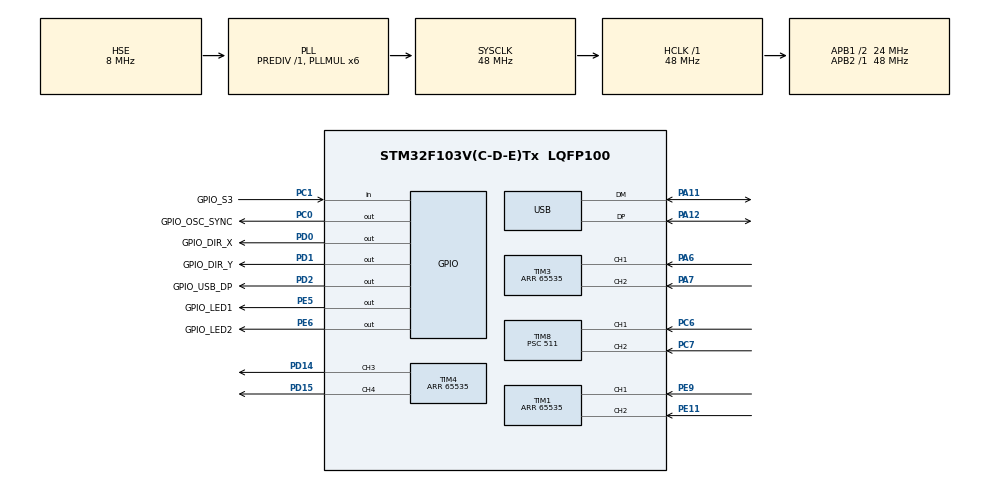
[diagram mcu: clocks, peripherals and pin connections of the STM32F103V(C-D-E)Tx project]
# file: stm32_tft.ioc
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Mcu.Family=STM32F1
Mcu.Name=STM32F103V(C-D-E)Tx
Mcu.Package=LQFP100
NVIC.PriorityGroup=NVIC_PRIORITYGROUP_4
NVIC.TIM1_UP_IRQn=true\:0\:0\:false\:false\:true
NVIC.TIM4_IRQn=true\:0\:0\:false\:false\:true
NVIC.TIM6_IRQn=true\:0\:0\:false\:false\:true
NVIC.TIM8_CC_IRQn=true\:0\:0\:false\:false\:true
NVIC.USB_LP_CAN1_RX0_IRQn=true\:0\:0\:false\:false\:true
OSC_IN.Mode=HSE-External-Oscillator
OSC_IN.Signal=RCC_OSC_IN
OSC_OUT.Mode=HSE-External-Oscillator
OSC_OUT.Signal=RCC_OSC_OUT
PA11.Mode=Device
PA11.Signal=USB_DM
PA12.Mode=Device
PA12.Signal=USB_DP
PA13.Mode=Serial_Wire
PA13.Signal=SYS_JTMS-SWDIO
PA14.Mode=Serial_Wire
PA14.Signal=SYS_JTCK-SWCLK
PA6.GPIO_PuPd=GPIO_PULLDOWN
PA6.Signal=S_TIM3_CH1
PA7.GPIO_PuPd=GPIO_PULLDOWN
PA7.Signal=S_TIM3_CH2
PC0.GPIO_Label=GPIO_OSC_SYNC
PC0.GPIO_Speed=GPIO_SPEED_FREQ_HIGH
PC0.Signal=GPIO_Output
PC1.GPIO_Label=GPIO_S3
PC1.Signal=GPIO_Input
PC14-OSC32_IN.Mode=LSE-External-Oscillator
PC14-OSC32_IN.Signal=RCC_OSC32_IN
PC15-OSC32_OUT.Mode=LSE-External-Oscillator
PC15-OSC32_OUT.Signal=RCC_OSC32_OUT
PC6.Signal=S_TIM8_CH1
PC7.Signal=S_TIM8_CH2
PD0.GPIO_Label=GPIO_DIR_X
PD0.Signal=GPIO_Output
PD1.GPIO_Label=GPIO_DIR_Y
PD1.Signal=GPIO_Output
PD14.GPIO_Speed=GPIO_SPEED_FREQ_HIGH
PD14.Signal=S_TIM4_CH3
PD15.GPIO_Speed=GPIO_SPEED_FREQ_HIGH
PD15.Signal=S_TIM4_CH4
PD2.GPIO_Label=GPIO_USB_DP
PD2.GPIO_ModeDefaultOutputPP=GPIO_MODE_OUTPUT_OD
PD2.Signal=GPIO_Output
PE11.GPIO_PuPd=GPIO_PULLDOWN
PE11.Signal=S_TIM1_CH2
PE5.GPIO_Label=GPIO_LED1
PE5.Signal=GPIO_Output
PE6.GPIO_Label=GPIO_LED2
PE6.Signal=GPIO_Output
PE9.GPIO_PuPd=GPIO_PULLDOWN
PE9.Signal=S_TIM1_CH1
ProjectManager.HeapSize=0x200
ProjectManager.StackSize=0x400
ProjectManager.TargetToolchain=SW4STM32
RCC.AHBFreq_Value=48000000
RCC.APB1CLKDivider=RCC_HCLK_DIV2
RCC.APB1Freq_Value=24000000
RCC.APB1TimFreq_Value=48000000
RCC.APB2Freq_Value=48000000
RCC.APB2TimFreq_Value=48000000
RCC.EnbaleCSS=true
RCC.HCLKFreq_Value=48000000
RCC.HSIState=RCC_HSI_ON
RCC.PLLMUL=RCC_PLL_MUL6
RCC.PLLSourceVirtual=RCC_PLLSOURCE_HSE
RCC.RTCClockSelection=RCC_RTCCLKSOURCE_LSE
RCC.SYSCLKFreq_VALUE=48000000
RCC.SYSCLKSource=RCC_SYSCLKSOURCE_PLLCLK
RCC.USBFreq_Value=48000000
SH.S_TIM1_CH1.0=TIM1_CH1,Encoder_Interface
SH.S_TIM1_CH2.0=TIM1_CH2,Encoder_Interface
SH.S_TIM3_CH1.0=TIM3_CH1,Encoder_Interface
SH.S_TIM3_CH2.0=TIM3_CH2,Encoder_Interface
SH.S_TIM4_CH3.0=TIM4_CH3,PWM Generation3 CH3
SH.S_TIM4_CH4.0=TIM4_CH4,PWM Generation4 CH4
SH.S_TIM8_CH1.0=TIM8_CH1,Input_Capture1_from_TI1
SH.S_TIM8_CH2.0=TIM8_CH2,Input_Capture2_from_TI2
TIM1.EncoderMode=TIM_ENCODERMODE_TI12
TIM1.IC1Filter=0
TIM1.IC2Filter=0
TIM1.Period=65535
TIM3.EncoderMode=TIM_ENCODERMODE_TI12
TIM3.IC1Filter=0
TIM3.IC2Filter=0
TIM3.Period=65535
TIM4.Channel-PWM\ Generation3\ CH3=TIM_CHANNEL_3
TIM4.Channel-PWM\ Generation4\ CH4=TIM_CHANNEL_4
TIM4.OCMode_PWM-PWM\ Generation3\ CH3=TIM_OCMODE_PWM1
TIM4.Period=65535
TIM6.Period=48000
TIM6.Prescaler=0
TIM6.TIM_MasterOutputTrigger=TIM_TRGO_ENABLE
TIM8.Channel-Input_Capture2_from_TI2=TIM_CHANNEL_2
TIM8.Period=65535
TIM8.Prescaler=511
USB.ep0_mps=DEP0CTL_MPS_64
USB_DEVICE.CLASS_NAME_FS=CDC
USB_DEVICE.USBD_HandleTypeDef=hUsbDeviceFS
USB_DEVICE.VirtualMode=Cdc
USB_DEVICE.VirtualModeFS=Cdc_FS
VP_RTC_VS_RTC_Activate.Mode=RTC_Enabled
VP_TIM4_VS_ClockSourceINT.Mode=Internal
VP_TIM6_VS_ClockSourceINT.Mode=Enable_Timer
VP_TIM8_VS_ClockSourceINT.Mode=Internal
VP_USB_DEVICE_VS_USB_DEVICE_CDC_FS.Mode=CDC_FS
board=stm32_tft

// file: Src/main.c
/**
  ******************************************************************************
  * File Name          : main.c
  * Description        : Main program body
  ******************************************************************************
  *
  * Copyright (c) 2017 STMicroelectronics International N.V.
  * All rights reserved.
  *
  * Redistribution and use in source and binary forms, with or without
  * modification, are permitted, provided that the following conditions are met:
  *
  * 1. Redistribution of source code must retain the above copyright notice,
  *    this list of conditions and the following disclaimer.
  * 2. Redistributions in binary form must reproduce the above copyright notice,
  *    this list of conditions and the following disclaimer in the documentation
  *    and/or other materials provided with the distribution.
  * 3. Neither the name of STMicroelectronics nor the names of other
  *    contributors to this software may be used to endorse or promote products
  *    derived from this software without specific written permission.
  * 4. This software, including modifications and/or derivative works of this
  *    software, must execute solely and exclusively on microcontroller or
  *    microprocessor devices manufactured by or for STMicroelectronics.
  * 5. Redistribution and use of this software other than as permitted under
  *    this license is void and will automatically terminate your rights under
  *    this license.
  *
  * THIS SOFTWARE IS PROVIDED BY STMICROELECTRONICS AND CONTRIBUTORS "AS IS"
  * AND ANY EXPRESS, IMPLIED OR STATUTORY WARRANTIES, INCLUDING, BUT NOT
  * LIMITED TO, THE IMPLIED WARRANTIES OF MERCHANTABILITY, FITNESS FOR A
  * PARTICULAR PURPOSE AND NON-INFRINGEMENT OF THIRD PARTY INTELLECTUAL PROPERTY
  * RIGHTS ARE DISCLAIMED TO THE FULLEST EXTENT PERMITTED BY LAW. IN NO EVENT
  * SHALL STMICROELECTRONICS OR CONTRIBUTORS BE LIABLE FOR ANY DIRECT, INDIRECT,
  * INCIDENTAL, SPECIAL, EXEMPLARY, OR CONSEQUENTIAL DAMAGES (INCLUDING, BUT NOT
  * LIMITED TO, PROCUREMENT OF SUBSTITUTE GOODS OR SERVICES; LOSS OF USE, DATA,
  * OR PROFITS; OR BUSINESS INTERRUPTION) HOWEVER CAUSED AND ON ANY THEORY OF
  * LIABILITY, WHETHER IN CONTRACT, STRICT LIABILITY, OR TORT (INCLUDING
  * NEGLIGENCE OR OTHERWISE) ARISING IN ANY WAY OUT OF THE USE OF THIS SOFTWARE,
  * EVEN IF ADVISED OF THE POSSIBILITY OF SUCH DAMAGE.
  *
  ******************************************************************************
  */
#include "main.h"
#include "stm32f1xx_hal.h"
#include "usb_device.h"

/* USER CODE BEGIN Includes */
#include "stm32_microrl_misc.h"
#include "event_queue.h"
#include "timer.h"
#include "speedometer.h"
#include "pid_regulator.h"
#include "stm32_dsp.h"
#include "main_hal.h"
#include "logger.h"
/* USER CODE END Includes */

RTC_HandleTypeDef hrtc;

TIM_HandleTypeDef htim1;
TIM_HandleTypeDef htim3;
TIM_HandleTypeDef htim4;
TIM_HandleTypeDef htim6;
TIM_HandleTypeDef htim8;

/* USER CODE BEGIN PV */
/* Private variables ---------------------------------------------------------*/

/* USER CODE END PV */

void SystemClock_Config(void);
void Error_Handler(void);
static void MX_GPIO_Init(void);
static void MX_RTC_Init(void);
static void MX_TIM6_Init(void);
static void MX_TIM1_Init(void);
static void MX_TIM3_Init(void);
static void MX_TIM4_Init(void);
static void MX_TIM8_Init(void);

void HAL_TIM_MspPostInit(TIM_HandleTypeDef *htim);

/* USER CODE BEGIN PFP */
/* Private function prototypes -----------------------------------------------*/

/* USER CODE END PFP */

/* USER CODE BEGIN 0 */
typedef enum STATE_MACHINE_TAG {
	MANUAL = 0,
	AUTO
} state_machine_e;

typedef enum START_STATE_MACHINE_TAG {
	START_INIT_DELAY = 0,
	START_USB_CONNECT_DELAY,
	START_USB_DONE
} start_state_machine_e;
//arm-none-eabi-objcopy -O binary "${BuildArtifactFileBaseName}.elf" "${BuildArtifactFileBaseName}.bin" && arm-none-eabi-size "${BuildArtifactFileName}"
//arm-none-eabi-objcopy -O ihex "${BuildArtifactFileBaseName}.elf" "${BuildArtifactFileBaseName}.hex"
static st_stat_module PidStat = {.printStatFunc = PidPrintStat};
static st_stat_module SpeedStat = {.printStatFunc = SPEED_PrintStat};
static st_stat_module TimerStat = {.printStatFunc = TIMER_PrintStat};

/* USER CODE END 0 */

int main(void)
{

  /* USER CODE BEGIN 1 */
	eq_queue_element_s ev;
	PID_OUT pid_out;
	state_machine_e sm = MANUAL;
	start_state_machine_e start_sm = START_INIT_DELAY;
	int16_t speed_x;
	int16_t speed_y;
	int8_t speed_x_s, speed_y_s;
	uint8_t cnt = 0;
  /* USER CODE END 1 */

  /* MCU Configuration----------------------------------------------------------*/

  /* Reset of all peripherals, Initializes the Flash interface and the Systick. */
  HAL_Init();

  /* Configure the system clock */
  SystemClock_Config();

  /* Initialize all configured peripherals */
  MX_GPIO_Init();
  MX_RTC_Init();
  MX_USB_DEVICE_Init();
  MX_TIM6_Init();
  MX_TIM1_Init();
  MX_TIM3_Init();
  MX_TIM4_Init();
  MX_TIM8_Init();

  /* USER CODE BEGIN 2 */
  init();
  HAL_TIM_Base_Start_IT(&htim6);
  HAL_GPIO_WritePin(GPIO_LED1_GPIO_Port, GPIO_LED1_Pin, GPIO_PIN_SET);
  HAL_GPIO_WritePin(GPIO_LED2_GPIO_Port, GPIO_LED2_Pin, GPIO_PIN_SET);
  TIMER_StartAuto(1, 75);
  TIMER_Start(2, 1000);
  start_sm = START_INIT_DELAY;
  HAL_TIM_Encoder_Start(&htim1,TIM_CHANNEL_ALL);
  HAL_TIM_Encoder_Start(&htim3,TIM_CHANNEL_ALL);
  HAL_TIM_PWM_Start(&htim4, TIM_CHANNEL_3);
  HAL_TIM_PWM_Start(&htim4, TIM_CHANNEL_4);
  HAL_TIM_IC_Start_IT(&htim8, TIM_CHANNEL_1);
  HAL_TIM_IC_Start_IT(&htim8, TIM_CHANNEL_2);

  LOGGER_RegisterPrintStatCallback(&PidStat);
  LOGGER_RegisterPrintStatCallback(&SpeedStat);
  LOGGER_RegisterPrintStatCallback(&TimerStat);

  PID_Init();
  SPEED_Init();

  LOGGER_Trigger();
//  TERM_PrintVersion();
  /* USER CODE END 2 */

  /* Infinite loop */
  /* USER CODE BEGIN WHILE */
  while (1)
  {
	  TERM_Task();
	  TIMER_Task();
	  SPEED_Task();
	  do {
		  EQ_GetEvent(&ev);
		  switch(ev.event){
		  case NO_EVENT:
			  break;
		  case CDC_EMPTY:
			  LOGGER_PrintData();
			  break;

    	  case CMD_WIDTH:
		  	  TIMER_StartAuto(1, ev.param.uiParam);
		  	  break;
		  case CMD_SPEED:

			  speed_x_s = (int8_t)(ev.param.uiParam & 0xFF);
			  ev.param.uiParam >>= 8;
			  speed_y_s = (int8_t)(ev.param.uiParam & 0xFF);

			  if (sm == MANUAL) {
				  if (speed_x_s >= 0) pid_out.Dir = 0;
				  else {
					  pid_out.Dir = 1;
					  speed_x_s = -speed_x_s;
				  }
				  if (speed_x_s > 100) speed_x_s = 100;
				  pid_out.Out = (uint16_t) speed_x_s;
				  pid_out.Out *= 655;
				  TIMER_HAL_SetMotor_X(&pid_out);

				  if (speed_y_s >= 0) pid_out.Dir = 0;
				  else {
					  pid_out.Dir = 1;
					  speed_y_s = -speed_y_s;
				  }
				  if (speed_y_s > 100) speed_y_s = 100;
				  pid_out.Out = (uint16_t) speed_y_s;
				  pid_out.Out *= 655;
				  TIMER_HAL_SetMotor_Y(&pid_out);

			  } else {
				  speed_x = speed_x_s;
				  speed_y = speed_y_s;
			  }
			  LOGGER_Trigger();
			  break;
		  case CMD_STAB_ON:
			  sm = AUTO;
			  PidReset();
			  speed_x = 0;
			  speed_y = 0;
			  break;
		  case CMD_STAB_OFF:
			  sm = MANUAL;
			  pid_out.Out = 0;
			  pid_out.Dir = 0;
			  TIMER_HAL_SetMotor_X(&pid_out);
			  TIMER_HAL_SetMotor_Y(&pid_out);
			  break;
		  case TIMER2_EXPIRED:
			  if (START_INIT_DELAY == start_sm) {
				  TIMER_Start(2, 3000);
				  start_sm = START_USB_CONNECT_DELAY;
				  HAL_GPIO_WritePin(GPIO_USB_DP_GPIO_Port, GPIO_USB_DP_Pin, GPIO_PIN_SET);
			  } else if (START_USB_CONNECT_DELAY == start_sm) {
				  TERM_PrintVersion();
				  start_sm = START_USB_DONE;
			  }
			  break;

		  case TIMER1_EXPIRED:
			  SPEED_Timeout();
		  	  if (sm == AUTO) {
				  PidRun(speed_x, speed_y);
		  	  } else {
		  		  PidIdle();
		  	  }
		  	  LOGGER_GetData();
			  break;
		  case CMD_GET_STAT:
			  LOGGER_StartStat();
			  break;
		  default:
			  break;
		  }
	  } while (ev.event != NO_EVENT);
  }
  /* USER CODE END WHILE */

  /* USER CODE BEGIN 3 */
//	  uint8_t Buf[100] = "";
//	  sprintf(Buf,"cnt 0x%08d    ", int_counter);
//
//	  CDC_Transmit_FS(Buf, 15);
//	  HAL_Delay(1000);
//	  if (1 == blink)
//	  {
//		  HAL_GPIO_WritePin(GPIO_LED1_GPIO_Port, GPIO_LED1_Pin, GPIO_PIN_SET);
//		  blink = 0;
//	  } else {
//		  HAL_GPIO_WritePin(GPIO_LED1_GPIO_Port, GPIO_LED1_Pin, GPIO_PIN_RESET);
//		  blink = 1;
//	  }

  /* USER CODE END 3 */

}

/** System Clock Configuration
*/
void SystemClock_Config(void)
{

  RCC_OscInitTypeDef RCC_OscInitStruct;
  RCC_ClkInitTypeDef RCC_ClkInitStruct;
  RCC_PeriphCLKInitTypeDef PeriphClkInit;

    /**Initializes the CPU, AHB and APB busses clocks
    */
  RCC_OscInitStruct.OscillatorType = RCC_OSCILLATORTYPE_HSE|RCC_OSCILLATORTYPE_LSE;
  RCC_OscInitStruct.HSEState = RCC_HSE_ON;
  RCC_OscInitStruct.HSEPredivValue = RCC_HSE_PREDIV_DIV1;
  RCC_OscInitStruct.LSEState = RCC_LSE_ON;
  RCC_OscInitStruct.HSIState = RCC_HSI_ON;
  RCC_OscInitStruct.PLL.PLLState = RCC_PLL_ON;
  RCC_OscInitStruct.PLL.PLLSource = RCC_PLLSOURCE_HSE;
  RCC_OscInitStruct.PLL.PLLMUL = RCC_PLL_MUL6;
  if (HAL_RCC_OscConfig(&RCC_OscInitStruct) != HAL_OK)
  {
    Error_Handler();
  }

    /**Initializes the CPU, AHB and APB busses clocks
    */
  RCC_ClkInitStruct.ClockType = RCC_CLOCKTYPE_HCLK|RCC_CLOCKTYPE_SYSCLK
                              |RCC_CLOCKTYPE_PCLK1|RCC_CLOCKTYPE_PCLK2;
  RCC_ClkInitStruct.SYSCLKSource = RCC_SYSCLKSOURCE_PLLCLK;
  RCC_ClkInitStruct.AHBCLKDivider = RCC_SYSCLK_DIV1;
  RCC_ClkInitStruct.APB1CLKDivider = RCC_HCLK_DIV2;
  RCC_ClkInitStruct.APB2CLKDivider = RCC_HCLK_DIV1;

  if (HAL_RCC_ClockConfig(&RCC_ClkInitStruct, FLASH_LATENCY_1) != HAL_OK)
  {
    Error_Handler();
  }

  PeriphClkInit.PeriphClockSelection = RCC_PERIPHCLK_RTC|RCC_PERIPHCLK_USB;
  PeriphClkInit.RTCClockSelection = RCC_RTCCLKSOURCE_LSE;
  PeriphClkInit.UsbClockSelection = RCC_USBCLKSOURCE_PLL;
  if (HAL_RCCEx_PeriphCLKConfig(&PeriphClkInit) != HAL_OK)
  {
    Error_Handler();
  }

    /**Enables the Clock Security System
    */
  HAL_RCC_EnableCSS();

    /**Configure the Systick interrupt time
    */
  HAL_SYSTICK_Config(HAL_RCC_GetHCLKFreq()/1000);

    /**Configure the Systick
    */
  HAL_SYSTICK_CLKSourceConfig(SYSTICK_CLKSOURCE_HCLK);

  /* SysTick_IRQn interrupt configuration */
  HAL_NVIC_SetPriority(SysTick_IRQn, 0, 0);
}

/* RTC init function */
static void MX_RTC_Init(void)
{

    /**Initialize RTC Only
    */
  hrtc.Instance = RTC;
  hrtc.Init.AsynchPrediv = RTC_AUTO_1_SECOND;
  hrtc.Init.OutPut = RTC_OUTPUTSOURCE_ALARM;
  if (HAL_RTC_Init(&hrtc) != HAL_OK)
  {
    Error_Handler();
  }

}

/* TIM1 init function */
static void MX_TIM1_Init(void)
{

  TIM_Encoder_InitTypeDef sConfig;
  TIM_MasterConfigTypeDef sMasterConfig;

  htim1.Instance = TIM1;
  htim1.Init.Prescaler = 0;
  htim1.Init.CounterMode = TIM_COUNTERMODE_UP;
  htim1.Init.Period = 65535;
  htim1.Init.ClockDivision = TIM_CLOCKDIVISION_DIV1;
  htim1.Init.RepetitionCounter = 0;
  sConfig.EncoderMode = TIM_ENCODERMODE_TI12;
  sConfig.IC1Polarity = TIM_ICPOLARITY_RISING;
  sConfig.IC1Selection = TIM_ICSELECTION_DIRECTTI;
  sConfig.IC1Prescaler = TIM_ICPSC_DIV1;
  sConfig.IC1Filter = 0;
  sConfig.IC2Polarity = TIM_ICPOLARITY_RISING;
  sConfig.IC2Selection = TIM_ICSELECTION_DIRECTTI;
  sConfig.IC2Prescaler = TIM_ICPSC_DIV1;
  sConfig.IC2Filter = 0;
  if (HAL_TIM_Encoder_Init(&htim1, &sConfig) != HAL_OK)
  {
    Error_Handler();
  }

  sMasterConfig.MasterOutputTrigger = TIM_TRGO_RESET;
  sMasterConfig.MasterSlaveMode = TIM_MASTERSLAVEMODE_DISABLE;
  if (HAL_TIMEx_MasterConfigSynchronization(&htim1, &sMasterConfig) != HAL_OK)
  {
    Error_Handler();
  }

}

/* TIM3 init function */
static void MX_TIM3_Init(void)
{

  TIM_Encoder_InitTypeDef sConfig;
  TIM_MasterConfigTypeDef sMasterConfig;

  htim3.Instance = TIM3;
  htim3.Init.Prescaler = 0;
  htim3.Init.CounterMode = TIM_COUNTERMODE_UP;
  htim3.Init.Period = 65535;
  htim3.Init.ClockDivision = TIM_CLOCKDIVISION_DIV1;
  sConfig.EncoderMode = TIM_ENCODERMODE_TI12;
  sConfig.IC1Polarity = TIM_ICPOLARITY_RISING;
  sConfig.IC1Selection = TIM_ICSELECTION_DIRECTTI;
  sConfig.IC1Prescaler = TIM_ICPSC_DIV1;
  sConfig.IC1Filter = 0;
  sConfig.IC2Polarity = TIM_ICPOLARITY_RISING;
  sConfig.IC2Selection = TIM_ICSELECTION_DIRECTTI;
  sConfig.IC2Prescaler = TIM_ICPSC_DIV1;
  sConfig.IC2Filter = 0;
  if (HAL_TIM_Encoder_Init(&htim3, &sConfig) != HAL_OK)
  {
    Error_Handler();
  }

  sMasterConfig.MasterOutputTrigger = TIM_TRGO_RESET;
  sMasterConfig.MasterSlaveMode = TIM_MASTERSLAVEMODE_DISABLE;
  if (HAL_TIMEx_MasterConfigSynchronization(&htim3, &sMasterConfig) != HAL_OK)
  {
    Error_Handler();
  }

}

/* TIM4 init function */
static void MX_TIM4_Init(void)
{

  TIM_ClockConfigTypeDef sClockSourceConfig;
  TIM_MasterConfigTypeDef sMasterConfig;
  TIM_OC_InitTypeDef sConfigOC;

  htim4.Instance = TIM4;
  htim4.Init.Prescaler = 0;
  htim4.Init.CounterMode = TIM_COUNTERMODE_UP;
  htim4.Init.Period = 65535;
  htim4.Init.ClockDivision = TIM_CLOCKDIVISION_DIV1;
  if (HAL_TIM_Base_Init(&htim4) != HAL_OK)
  {
    Error_Handler();
  }

  sClockSourceConfig.ClockSource = TIM_CLOCKSOURCE_INTERNAL;
  if (HAL_TIM_ConfigClockSource(&htim4, &sClockSourceConfig) != HAL_OK)
  {
    Error_Handler();
  }

  if (HAL_TIM_PWM_Init(&htim4) != HAL_OK)
  {
    Error_Handler();
  }

  sMasterConfig.MasterOutputTrigger = TIM_TRGO_RESET;
  sMasterConfig.MasterSlaveMode = TIM_MASTERSLAVEMODE_DISABLE;
  if (HAL_TIMEx_MasterConfigSynchronization(&htim4, &sMasterConfig) != HAL_OK)
  {
    Error_Handler();
  }

  sConfigOC.OCMode = TIM_OCMODE_PWM1;
  sConfigOC.Pulse = 0;
  sConfigOC.OCPolarity = TIM_OCPOLARITY_HIGH;
  sConfigOC.OCFastMode = TIM_OCFAST_DISABLE;
  if (HAL_TIM_PWM_ConfigChannel(&htim4, &sConfigOC, TIM_CHANNEL_3) != HAL_OK)
  {
    Error_Handler();
  }

  if (HAL_TIM_PWM_ConfigChannel(&htim4, &sConfigOC, TIM_CHANNEL_4) != HAL_OK)
  {
    Error_Handler();
  }

  HAL_TIM_MspPostInit(&htim4);

}

/* TIM6 init function */
static void MX_TIM6_Init(void)
{

  TIM_MasterConfigTypeDef sMasterConfig;

  htim6.Instance = TIM6;
  htim6.Init.Prescaler = 0;
  htim6.Init.CounterMode = TIM_COUNTERMODE_UP;
  htim6.Init.Period = 48000;
  if (HAL_TIM_Base_Init(&htim6) != HAL_OK)
  {
    Error_Handler();
  }

  sMasterConfig.MasterOutputTrigger = TIM_TRGO_ENABLE;
  sMasterConfig.MasterSlaveMode = TIM_MASTERSLAVEMODE_DISABLE;
  if (HAL_TIMEx_MasterConfigSynchronization(&htim6, &sMasterConfig) != HAL_OK)
  {
    Error_Handler();
  }

}

/* TIM8 init function */
static void MX_TIM8_Init(void)
{

  TIM_ClockConfigTypeDef sClockSourceConfig;
  TIM_MasterConfigTypeDef sMasterConfig;
  TIM_IC_InitTypeDef sConfigIC;

  htim8.Instance = TIM8;
  htim8.Init.Prescaler = 511;
  htim8.Init.CounterMode = TIM_COUNTERMODE_UP;
  htim8.Init.Period = 65535;
  htim8.Init.ClockDivision = TIM_CLOCKDIVISION_DIV1;
  htim8.Init.RepetitionCounter = 0;
  if (HAL_TIM_Base_Init(&htim8) != HAL_OK)
  {
    Error_Handler();
  }

  sClockSourceConfig.ClockSource = TIM_CLOCKSOURCE_INTERNAL;
  if (HAL_TIM_ConfigClockSource(&htim8, &sClockSourceConfig) != HAL_OK)
  {
    Error_Handler();
  }

  if (HAL_TIM_IC_Init(&htim8) != HAL_OK)
  {
    Error_Handler();
  }

  sMasterConfig.MasterOutputTrigger = TIM_TRGO_RESET;
  sMasterConfig.MasterSlaveMode = TIM_MASTERSLAVEMODE_DISABLE;
  if (HAL_TIMEx_MasterConfigSynchronization(&htim8, &sMasterConfig) != HAL_OK)
  {
    Error_Handler();
  }

  sConfigIC.ICPolarity = TIM_INPUTCHANNELPOLARITY_RISING;
  sConfigIC.ICSelection = TIM_ICSELECTION_DIRECTTI;
  sConfigIC.ICPrescaler = TIM_ICPSC_DIV1;
  sConfigIC.ICFilter = 0;
  if (HAL_TIM_IC_ConfigChannel(&htim8, &sConfigIC, TIM_CHANNEL_1) != HAL_OK)
  {
    Error_Handler();
  }

  if (HAL_TIM_IC_ConfigChannel(&htim8, &sConfigIC, TIM_CHANNEL_2) != HAL_OK)
  {
    Error_Handler();
  }

}

/** Configure pins as
        * Analog
        * Input
        * Output
        * EVENT_OUT
        * EXTI
*/
static void MX_GPIO_Init(void)
{

  GPIO_InitTypeDef GPIO_InitStruct;

  /* GPIO Ports Clock Enable */
  __HAL_RCC_GPIOE_CLK_ENABLE();
  __HAL_RCC_GPIOC_CLK_ENABLE();
  __HAL_RCC_GPIOA_CLK_ENABLE();
  __HAL_RCC_GPIOD_CLK_ENABLE();

  /*Configure GPIO pin Output Level */
  HAL_GPIO_WritePin(GPIOE, GPIO_LED1_Pin|GPIO_LED2_Pin, GPIO_PIN_RESET);

  /*Configure GPIO pin Output Level */
  HAL_GPIO_WritePin(GPIO_OSC_SYNC_GPIO_Port, GPIO_OSC_SYNC_Pin, GPIO_PIN_RESET);

  /*Configure GPIO pin Output Level */
  HAL_GPIO_WritePin(GPIOD, GPIO_DIR_X_Pin|GPIO_DIR_Y_Pin|GPIO_USB_DP_Pin, GPIO_PIN_RESET);

  /*Configure GPIO pins : GPIO_LED1_Pin GPIO_LED2_Pin */
  GPIO_InitStruct.Pin = GPIO_LED1_Pin|GPIO_LED2_Pin;
  GPIO_InitStruct.Mode = GPIO_MODE_OUTPUT_PP;
  GPIO_InitStruct.Speed = GPIO_SPEED_FREQ_LOW;
  HAL_GPIO_Init(GPIOE, &GPIO_InitStruct);

  /*Configure GPIO pin : GPIO_OSC_SYNC_Pin */
  GPIO_InitStruct.Pin = GPIO_OSC_SYNC_Pin;
  GPIO_InitStruct.Mode = GPIO_MODE_OUTPUT_PP;
  GPIO_InitStruct.Speed = GPIO_SPEED_FREQ_HIGH;
  HAL_GPIO_Init(GPIO_OSC_SYNC_GPIO_Port, &GPIO_InitStruct);

  /*Configure GPIO pin : GPIO_S3_Pin */
  GPIO_InitStruct.Pin = GPIO_S3_Pin;
  GPIO_InitStruct.Mode = GPIO_MODE_INPUT;
  GPIO_InitStruct.Pull = GPIO_NOPULL;
  HAL_GPIO_Init(GPIO_S3_GPIO_Port, &GPIO_InitStruct);

  /*Configure GPIO pins : GPIO_DIR_X_Pin GPIO_DIR_Y_Pin */
  GPIO_InitStruct.Pin = GPIO_DIR_X_Pin|GPIO_DIR_Y_Pin;
  GPIO_InitStruct.Mode = GPIO_MODE_OUTPUT_PP;
  GPIO_InitStruct.Speed = GPIO_SPEED_FREQ_LOW;
  HAL_GPIO_Init(GPIOD, &GPIO_InitStruct);

  /*Configure GPIO pin : GPIO_USB_DP_Pin */
  GPIO_InitStruct.Pin = GPIO_USB_DP_Pin;
  GPIO_InitStruct.Mode = GPIO_MODE_OUTPUT_OD;
  GPIO_InitStruct.Speed = GPIO_SPEED_FREQ_LOW;
  HAL_GPIO_Init(GPIO_USB_DP_GPIO_Port, &GPIO_InitStruct);

}

/* USER CODE BEGIN 4 */

uint16_t TIMER_HAL_GetSpeedometerTime_L()
{
	uint16_t time = 0;
	return time;
}

uint16_t TIMER_HAL_GetSpeedometerTime_R()
{
	uint16_t period = 0;
	uint16_t pulse = 0;
	uint16_t tmp;
	uint16_t cnt;
	static uint16_t cnt_old_1 = 0;
	static uint16_t cnt_old_2 = 0;
	static uint16_t time = 0;

	HAL_GPIO_TogglePin(GPIO_OSC_SYNC_GPIO_Port, GPIO_OSC_SYNC_Pin);
	if ((RESET != __HAL_TIM_GET_FLAG(&htim8, TIM_FLAG_CC1)) && (RESET == __HAL_TIM_GET_FLAG(&htim8, TIM_FLAG_CC1OF))){
		cnt = HAL_TIM_ReadCapturedValue(&htim8, TIM_CHANNEL_1);
		time = cnt - cnt_old_1;
		cnt_old_1 = cnt;
	}

	if ((RESET != __HAL_TIM_GET_FLAG(&htim8, TIM_FLAG_CC2)) && (RESET == __HAL_TIM_GET_FLAG(&htim8, TIM_FLAG_CC2OF))){
		cnt = HAL_TIM_ReadCapturedValue(&htim8, TIM_CHANNEL_2);
		time = cnt - cnt_old_2;
		cnt_old_2 = cnt;
		HAL_GPIO_TogglePin(GPIO_LED1_GPIO_Port, GPIO_LED1_Pin);

	}

//	pulse = HAL_TIM_ReadCapturedValue(&htim8, TIM_CHANNEL_2);
//    period = HAL_TIM_ReadCapturedValue(&htim8, TIM_CHANNEL_1);

//	if(__HAL_TIM_GET_FLAG(&htim8, TIM_FLAG_CC1) != RESET)
//	{
//		HAL_GPIO_WritePin(GPIO_LED1_GPIO_Port, GPIO_LED1_Pin, GPIO_PIN_SET);
//		pulse = (int16_t) TIM8->CCR1;
//		time = abs(pulse);
//	} else if (__HAL_TIM_GET_FLAG(&htim8, TIM_FLAG_CC2) != RESET) {
//		HAL_GPIO_WritePin(GPIO_LED1_GPIO_Port, GPIO_LED1_Pin, GPIO_PIN_RESET);
//		time = (int16_t) TIM8->CCR2;
//	}

	return time;
}

void TIMER_HAL_EnableIrq_L()
{
}

void TIMER_HAL_DisableIrq_L()
{
}

uint16_t TIMER_HAL_GetEncoder_X()
{
	uint16_t enc_x;
	enc_x = TIM3->CNT;
	return enc_x;
}

void TIMER_HAL_EnableIrq_R()
{
	HAL_NVIC_EnableIRQ(TIM8_CC_IRQn);
}

void TIMER_HAL_DisableIrq_R()
{
	HAL_NVIC_DisableIRQ(TIM8_CC_IRQn);
}

uint16_t TIMER_HAL_GetEncoder_Y()
{
	uint16_t enc_y;
	enc_y = TIM1->CNT;
	return enc_y;
}

void TIMER_HAL_SetMotor_X(PID_OUT* p)
{
	if (p->Dir) {
		HAL_GPIO_WritePin(GPIO_DIR_X_GPIO_Port, GPIO_DIR_X_Pin, GPIO_PIN_SET);
	} else {
		HAL_GPIO_WritePin(GPIO_DIR_X_GPIO_Port, GPIO_DIR_X_Pin, GPIO_PIN_RESET);
	}

	TIM4->CCR3 = p->Out;

}

void TIMER_HAL_SetMotor_Y(PID_OUT* p)
{
	if (p->Dir) {
		HAL_GPIO_WritePin(GPIO_DIR_Y_GPIO_Port, GPIO_DIR_Y_Pin, GPIO_PIN_SET);
	} else {
		HAL_GPIO_WritePin(GPIO_DIR_Y_GPIO_Port, GPIO_DIR_Y_Pin, GPIO_PIN_RESET);
	}
	TIM4->CCR4 = p->Out;
}

/* USER CODE END 4 */

void Error_Handler(void)
{
  while(1)
  {
  }
}

/************************ (C) COPYRIGHT STMicroelectronics *****END OF FILE****/
